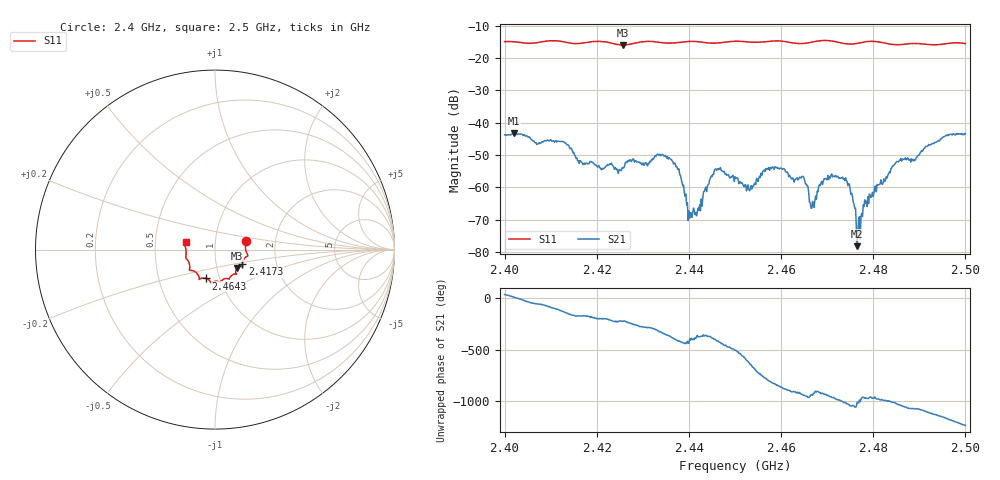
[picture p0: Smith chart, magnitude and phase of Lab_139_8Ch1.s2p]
# Hz S RI R 50
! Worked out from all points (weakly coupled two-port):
!   601 points, 2.4 GHz to 2.5 GHz, reference 50 ohm
!   highest |S21| = -43.30 dB at 2.402 GHz (marker M1); lowest = -78.3 dB at 2.4765 GHz (marker M2)
!   lowest |S11| = -15.9 dB at 2.4257 GHz (marker M3), VSWR 1.38, Z = 62.4 - j13.1 ohm
!   |S11| at or under -10 dB: start of sweep to end of sweep
!   S12 and S22 are empty: the file has one direction only
!   S11 on the Smith chart (normalised r, x): 2.4 GHz: 1.41, +0.14; 2.4173 GHz: 1.34, -0.23; 2.4643 GHz: 0.86, -0.28; 2.5 GHz: 0.72, +0.06
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2.4e9  0.1734 0.0494  0.00548 0.00352  0 0  0 0
2.402e9  0.1749 0.0412  0.00678 0.000908  0 0  0 0
2.412833e9  0.1747 -0.0395  -0.00353 -0.00366  0 0  0 0
2.416667e9  0.153 -0.0749  -0.00242 -0.000215  0 0  0 0
2.417333e9  0.1524 -0.0824  -0.00235 -0.000249  0 0  0 0
2.425667e9  0.1226 -0.1026  -0.00142 0.00145  0 0  0 0
2.433333e9  0.1125 -0.1366  0.00242 0.00217  0 0  0 0
2.437333e9  0.0857 -0.1508  0.00143 -0.00155  0 0  0 0
2.440333e9  0.0794 -0.164  0.000263 -0.000306  0 0  0 0
2.442e9  0.0746 -0.1636  0.000455 -0.000142  0 0  0 0
2.446e9  0.0471 -0.1649  0.00103 -0.00151  0 0  0 0
2.45e9  0.0295 -0.1808  -0.00122 -0.000801  0 0  0 0
2.453e9  0.0174 -0.1773  -9.1e-05 0.000916  0 0  0 0
2.457833e9  -0.0179 -0.1831  -0.000101 -0.00195  0 0  0 0
2.464333e9  -0.0503 -0.1604  -0.00123 0.000655  0 0  0 0
2.466667e9  -0.0764 -0.1596  -0.000381 0.000279  0 0  0 0
2.469667e9  -0.0877 -0.1665  -0.00116 0.000722  0 0  0 0
2.4735e9  -0.0939 -0.1413  0.00042 0.00127  0 0  0 0
2.475167e9  -0.1084 -0.125  0.000632 0.000446  0 0  0 0
2.4765e9  -0.122 -0.1179  3.92e-05 0.000116  0 0  0 0
2.483333e9  -0.1407 -0.0894  0.000109 0.00161  0 0  0 0
2.5e9  -0.1635 0.0416  -0.00597 -0.00317  0 0  0 0
